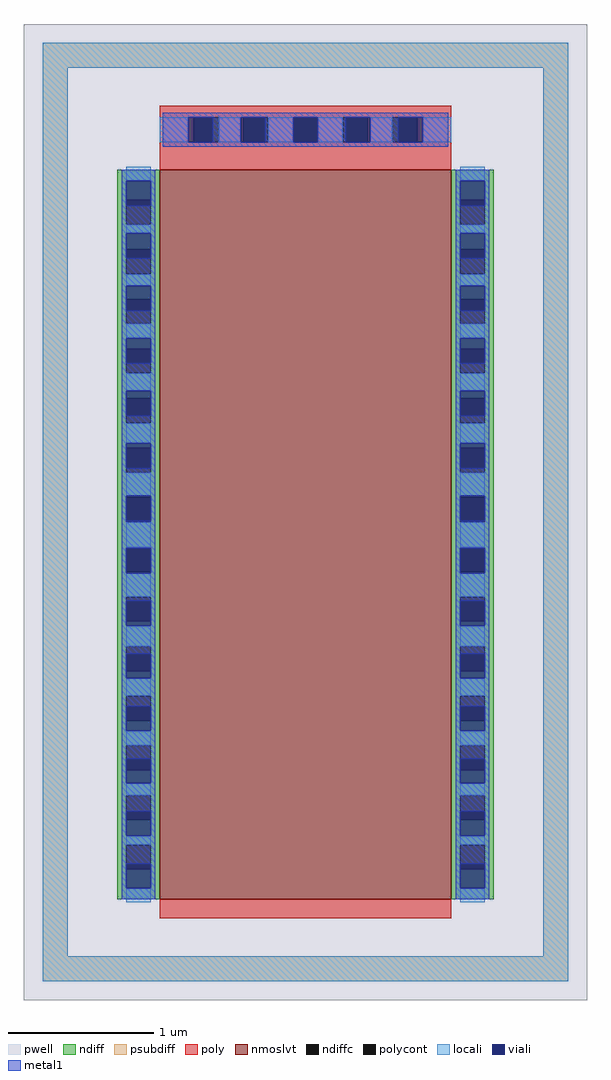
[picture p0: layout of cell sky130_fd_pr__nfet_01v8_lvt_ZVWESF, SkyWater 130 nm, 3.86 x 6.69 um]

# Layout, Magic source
magic
tech sky130A
magscale 1 2
<< pwell >>
rect -386 -669 386 669
<< nmoslvt >>
rect -200 -531 200 469
<< ndiff >>
rect -258 428 -200 469
rect -258 394 -246 428
rect -212 394 -200 428
rect -258 360 -200 394
rect -258 326 -246 360
rect -212 326 -200 360
rect -258 292 -200 326
rect -258 258 -246 292
rect -212 258 -200 292
rect -258 224 -200 258
rect -258 190 -246 224
rect -212 190 -200 224
rect -258 156 -200 190
rect -258 122 -246 156
rect -212 122 -200 156
rect -258 88 -200 122
rect -258 54 -246 88
rect -212 54 -200 88
rect -258 20 -200 54
rect -258 -14 -246 20
rect -212 -14 -200 20
rect -258 -48 -200 -14
rect -258 -82 -246 -48
rect -212 -82 -200 -48
rect -258 -116 -200 -82
rect -258 -150 -246 -116
rect -212 -150 -200 -116
rect -258 -184 -200 -150
rect -258 -218 -246 -184
rect -212 -218 -200 -184
rect -258 -252 -200 -218
rect -258 -286 -246 -252
rect -212 -286 -200 -252
rect -258 -320 -200 -286
rect -258 -354 -246 -320
rect -212 -354 -200 -320
rect -258 -388 -200 -354
rect -258 -422 -246 -388
rect -212 -422 -200 -388
rect -258 -456 -200 -422
rect -258 -490 -246 -456
rect -212 -490 -200 -456
rect -258 -531 -200 -490
rect 200 428 258 469
rect 200 394 212 428
rect 246 394 258 428
rect 200 360 258 394
rect 200 326 212 360
rect 246 326 258 360
rect 200 292 258 326
rect 200 258 212 292
rect 246 258 258 292
rect 200 224 258 258
rect 200 190 212 224
rect 246 190 258 224
rect 200 156 258 190
rect 200 122 212 156
rect 246 122 258 156
rect 200 88 258 122
rect 200 54 212 88
rect 246 54 258 88
rect 200 20 258 54
rect 200 -14 212 20
rect 246 -14 258 20
rect 200 -48 258 -14
rect 200 -82 212 -48
rect 246 -82 258 -48
rect 200 -116 258 -82
rect 200 -150 212 -116
rect 246 -150 258 -116
rect 200 -184 258 -150
rect 200 -218 212 -184
rect 246 -218 258 -184
rect 200 -252 258 -218
rect 200 -286 212 -252
rect 246 -286 258 -252
rect 200 -320 258 -286
rect 200 -354 212 -320
rect 246 -354 258 -320
rect 200 -388 258 -354
rect 200 -422 212 -388
rect 246 -422 258 -388
rect 200 -456 258 -422
rect 200 -490 212 -456
rect 246 -490 258 -456
rect 200 -531 258 -490
<< ndiffc >>
rect -246 394 -212 428
rect -246 326 -212 360
rect -246 258 -212 292
rect -246 190 -212 224
rect -246 122 -212 156
rect -246 54 -212 88
rect -246 -14 -212 20
rect -246 -82 -212 -48
rect -246 -150 -212 -116
rect -246 -218 -212 -184
rect -246 -286 -212 -252
rect -246 -354 -212 -320
rect -246 -422 -212 -388
rect -246 -490 -212 -456
rect 212 394 246 428
rect 212 326 246 360
rect 212 258 246 292
rect 212 190 246 224
rect 212 122 246 156
rect 212 54 246 88
rect 212 -14 246 20
rect 212 -82 246 -48
rect 212 -150 246 -116
rect 212 -218 246 -184
rect 212 -286 246 -252
rect 212 -354 246 -320
rect 212 -422 246 -388
rect 212 -490 246 -456
<< psubdiff >>
rect -360 609 360 643
rect -360 -609 -326 609
rect 326 -609 360 609
rect -360 -643 360 -609
<< poly >>
rect -200 541 200 557
rect -200 507 -153 541
rect -119 507 -85 541
rect -51 507 -17 541
rect 17 507 51 541
rect 85 507 119 541
rect 153 507 200 541
rect -200 469 200 507
rect -200 -557 200 -531
<< polycont >>
rect -153 507 -119 541
rect -85 507 -51 541
rect -17 507 17 541
rect 51 507 85 541
rect 119 507 153 541
<< locali >>
rect -360 609 360 643
rect -360 -609 -326 609
rect -200 507 -161 541
rect -119 507 -89 541
rect -51 507 -17 541
rect 17 507 51 541
rect 89 507 119 541
rect 161 507 200 541
rect -246 454 -212 473
rect -246 382 -212 394
rect -246 310 -212 326
rect -246 238 -212 258
rect -246 166 -212 190
rect -246 94 -212 122
rect -246 22 -212 54
rect -246 -48 -212 -14
rect -246 -116 -212 -84
rect -246 -184 -212 -156
rect -246 -252 -212 -228
rect -246 -320 -212 -300
rect -246 -388 -212 -372
rect -246 -456 -212 -444
rect -246 -535 -212 -516
rect 212 454 246 473
rect 212 382 246 394
rect 212 310 246 326
rect 212 238 246 258
rect 212 166 246 190
rect 212 94 246 122
rect 212 22 246 54
rect 212 -48 246 -14
rect 212 -116 246 -84
rect 212 -184 246 -156
rect 212 -252 246 -228
rect 212 -320 246 -300
rect 212 -388 246 -372
rect 212 -456 246 -444
rect 212 -535 246 -516
rect 326 -609 360 609
rect -360 -643 360 -609
<< viali >>
rect -161 507 -153 541
rect -153 507 -127 541
rect -89 507 -85 541
rect -85 507 -55 541
rect -17 507 17 541
rect 55 507 85 541
rect 85 507 89 541
rect 127 507 153 541
rect 153 507 161 541
rect -246 428 -212 454
rect -246 420 -212 428
rect -246 360 -212 382
rect -246 348 -212 360
rect -246 292 -212 310
rect -246 276 -212 292
rect -246 224 -212 238
rect -246 204 -212 224
rect -246 156 -212 166
rect -246 132 -212 156
rect -246 88 -212 94
rect -246 60 -212 88
rect -246 20 -212 22
rect -246 -12 -212 20
rect -246 -82 -212 -50
rect -246 -84 -212 -82
rect -246 -150 -212 -122
rect -246 -156 -212 -150
rect -246 -218 -212 -194
rect -246 -228 -212 -218
rect -246 -286 -212 -266
rect -246 -300 -212 -286
rect -246 -354 -212 -338
rect -246 -372 -212 -354
rect -246 -422 -212 -410
rect -246 -444 -212 -422
rect -246 -490 -212 -482
rect -246 -516 -212 -490
rect 212 428 246 454
rect 212 420 246 428
rect 212 360 246 382
rect 212 348 246 360
rect 212 292 246 310
rect 212 276 246 292
rect 212 224 246 238
rect 212 204 246 224
rect 212 156 246 166
rect 212 132 246 156
rect 212 88 246 94
rect 212 60 246 88
rect 212 20 246 22
rect 212 -12 246 20
rect 212 -82 246 -50
rect 212 -84 246 -82
rect 212 -150 246 -122
rect 212 -156 246 -150
rect 212 -218 246 -194
rect 212 -228 246 -218
rect 212 -286 246 -266
rect 212 -300 246 -286
rect 212 -354 246 -338
rect 212 -372 246 -354
rect 212 -422 246 -410
rect 212 -444 246 -422
rect 212 -490 246 -482
rect 212 -516 246 -490
<< metal1 >>
rect -196 541 196 547
rect -196 507 -161 541
rect -127 507 -89 541
rect -55 507 -17 541
rect 17 507 55 541
rect 89 507 127 541
rect 161 507 196 541
rect -196 501 196 507
rect -252 454 -206 469
rect -252 420 -246 454
rect -212 420 -206 454
rect -252 382 -206 420
rect -252 348 -246 382
rect -212 348 -206 382
rect -252 310 -206 348
rect -252 276 -246 310
rect -212 276 -206 310
rect -252 238 -206 276
rect -252 204 -246 238
rect -212 204 -206 238
rect -252 166 -206 204
rect -252 132 -246 166
rect -212 132 -206 166
rect -252 94 -206 132
rect -252 60 -246 94
rect -212 60 -206 94
rect -252 22 -206 60
rect -252 -12 -246 22
rect -212 -12 -206 22
rect -252 -50 -206 -12
rect -252 -84 -246 -50
rect -212 -84 -206 -50
rect -252 -122 -206 -84
rect -252 -156 -246 -122
rect -212 -156 -206 -122
rect -252 -194 -206 -156
rect -252 -228 -246 -194
rect -212 -228 -206 -194
rect -252 -266 -206 -228
rect -252 -300 -246 -266
rect -212 -300 -206 -266
rect -252 -338 -206 -300
rect -252 -372 -246 -338
rect -212 -372 -206 -338
rect -252 -410 -206 -372
rect -252 -444 -246 -410
rect -212 -444 -206 -410
rect -252 -482 -206 -444
rect -252 -516 -246 -482
rect -212 -516 -206 -482
rect -252 -531 -206 -516
rect 206 454 252 469
rect 206 420 212 454
rect 246 420 252 454
rect 206 382 252 420
rect 206 348 212 382
rect 246 348 252 382
rect 206 310 252 348
rect 206 276 212 310
rect 246 276 252 310
rect 206 238 252 276
rect 206 204 212 238
rect 246 204 252 238
rect 206 166 252 204
rect 206 132 212 166
rect 246 132 252 166
rect 206 94 252 132
rect 206 60 212 94
rect 246 60 252 94
rect 206 22 252 60
rect 206 -12 212 22
rect 246 -12 252 22
rect 206 -50 252 -12
rect 206 -84 212 -50
rect 246 -84 252 -50
rect 206 -122 252 -84
rect 206 -156 212 -122
rect 246 -156 252 -122
rect 206 -194 252 -156
rect 206 -228 212 -194
rect 246 -228 252 -194
rect 206 -266 252 -228
rect 206 -300 212 -266
rect 246 -300 252 -266
rect 206 -338 252 -300
rect 206 -372 212 -338
rect 246 -372 252 -338
rect 206 -410 252 -372
rect 206 -444 212 -410
rect 246 -444 252 -410
rect 206 -482 252 -444
rect 206 -516 212 -482
rect 246 -516 252 -482
rect 206 -531 252 -516
<< properties >>
string FIXED_BBOX -343 -626 343 626
<< end >>
